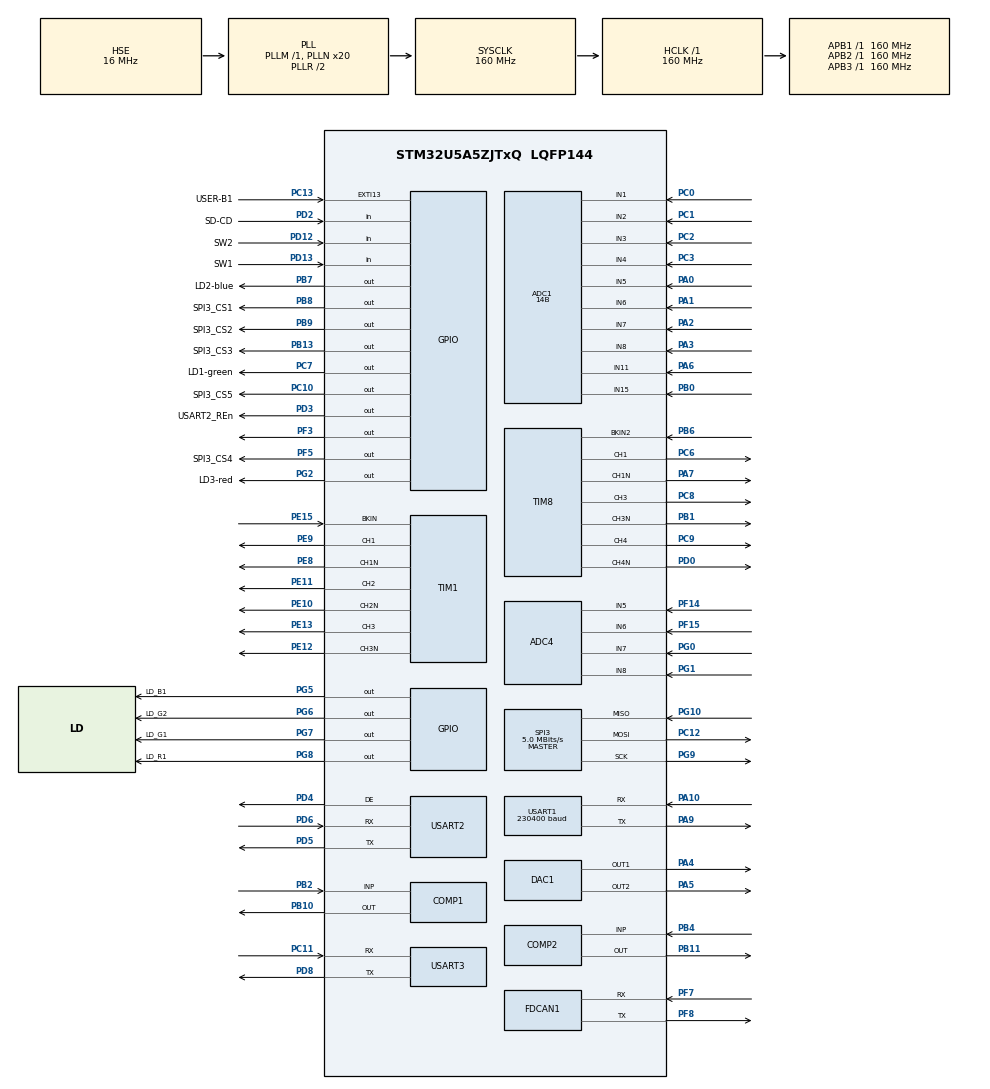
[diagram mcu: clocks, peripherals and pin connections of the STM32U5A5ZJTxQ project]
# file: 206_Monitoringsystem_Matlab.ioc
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ADC1.Channel-2\#ChannelRegularConversion=ADC_CHANNEL_1
ADC1.ClockPrescaler=ADC_CLOCK_ASYNC_DIV4
ADC1.ContinuousConvMode=DISABLE
ADC1.ConversionDataManagement=ADC_CONVERSIONDATA_DMA_CIRCULAR
ADC1.EnableInjectedConversion=DISABLE
ADC1.EnableRegularConversion=ENABLE
ADC1.ExternalTrigConv=ADC_EXTERNALTRIG_T3_TRGO
ADC1.MonitoredBy-2\#ChannelRegularConversion=__NULL
ADC1.NbrOfConversionFlag=1
ADC1.OffsetNumber-2\#ChannelRegularConversion=ADC_OFFSET_NONE
ADC1.Rank-2\#ChannelRegularConversion=1
ADC1.Resolution=ADC_RESOLUTION_14B
ADC1.SamplingTime-2\#ChannelRegularConversion=ADC_SAMPLETIME_68CYCLES
ADC1.master=1
ADC4.Channel-0\#ChannelRegularConversion=ADC_CHANNEL_5
ADC4.ClockPrescaler=ADC_CLOCK_ASYNC_DIV4
ADC4.NbrOfConversionFlag=1
ADC4.OffsetNumber-0\#ChannelRegularConversion=ADC_OFFSET_NONE
ADC4.Rank-0\#ChannelRegularConversion=1
ADC4.RankArg-0\#ChannelRegularConversion=ADC4_REGULAR_RANK_1
ADC4.SamplingTime-0\#ChannelRegularConversion=ADC4_SAMPLINGTIME_COMMON_1
ADC4.SelectedChannel=ADC_CHANNEL_5|ADC_CHANNEL_6|ADC_CHANNEL_7|ADC_CHANNEL_8
CORTEX_M33_NS.AccessPermission-Cortex_Memory_Protection_Unit_Region0_Settings=MPU_REGION_PRIV_RO
CORTEX_M33_NS.AccessPermission-Cortex_Memory_Protection_Unit_Region1_Settings=MPU_REGION_ALL_RW
CORTEX_M33_NS.AllocateAttribute0=MPU_R_ALLOCATE
CORTEX_M33_NS.Attributes0=MPU_ATTRIBUTES_NUMBER0
CORTEX_M33_NS.Attributes1=MPU_ATTRIBUTES_NUMBER1
CORTEX_M33_NS.AttributesIndex-Cortex_Memory_Protection_Unit_Region1_Settings=MPU_ATTRIBUTES_NUMBER1
CORTEX_M33_NS.BaseAddress-Cortex_Memory_Protection_Unit_Region0_Settings=0x08000000
CORTEX_M33_NS.BaseAddress-Cortex_Memory_Protection_Unit_Region1_Settings=0x20000000
CORTEX_M33_NS.Enable-Cortex_Memory_Protection_Unit_Region0_Settings=MPU_REGION_ENABLE
CORTEX_M33_NS.Enable-Cortex_Memory_Protection_Unit_Region1_Settings=MPU_REGION_ENABLE
CORTEX_M33_NS.LimitAddress-Cortex_Memory_Protection_Unit_Region0_Settings=0x083FFFFF
CORTEX_M33_NS.LimitAddress-Cortex_Memory_Protection_Unit_Region1_Settings=0x2026FFFF
CORTEX_M33_NS.MPU_Control=MPU_PRIVILEGED_DEFAULT
CORTEX_M33_NS.Memorytype0=MPU_CACHEABLE
CORTEX_M33_NS.Number-Cortex_Memory_Protection_Unit_Region0_Settings=MPU_REGION_NUMBER0
CORTEX_M33_NS.Number-Cortex_Memory_Protection_Unit_Region1_Settings=MPU_REGION_NUMBER1
CORTEX_M33_NS.userName=CORTEX_M33
DAC1.DAC_Channel-DAC_OUT1_ExtAndInt=DAC_CHANNEL_1
DAC1.DAC_Channel-DAC_OUT2_ExtAndInt=DAC_CHANNEL_2
FDCAN1.CalculateBaudRateNominal=3333333
FDCAN1.CalculateTimeBitNominal=300
FDCAN1.CalculateTimeQuantumNominal=100.0
FLASH.B1_BLOCK_active=true
FLASH.B1_endPage=255
FLASH.B2_BLOCK_active=true
FLASH.B2_Bank=FLASH_BANK_2
FLASH.B2_endPage=255
FLASH.OB_Boot_Configuration_active_NS0=true
FLASH.OB_NSBOOTADD0_Address=0x08000000
GPDMA1.CIRCULARMODE_GPDMACH15=ENABLE
GPDMA1.DESTDATAWIDTH_GPDMACH15=DMA_DEST_DATAWIDTH_HALFWORD
GPDMA1.DESTINC_GPDMACH15=DMA_DINC_INCREMENTED
GPDMA1.IPHANDLE_GPDMACH15-SIMPLEREQUEST_GPDMACH15=__NULL
GPDMA1.REQUEST_GPDMACH15=GPDMA1_REQUEST_ADC1
GPDMA1.SRCDATAWIDTH_GPDMACH15=DMA_SRC_DATAWIDTH_HALFWORD
GPDMA1.TRIGGERPOLARITY_GPDMACH15=DMA_TRIG_POLARITY_MASKED
GTZC.MPCBB1_Area_Privilege=GTZC_MPCBB_REGION_NPRIV
GTZC.MPCBB1_Area_Privilege_Choice=from full Privileged
GTZC.MPCBB1_Area_Privilege_Size=0x000C0000
GTZC.MPCBB1_PrivConfig_array=00000000\:00000000\:00000000\:00000000\:00000000\:00000000\:00000000\:00000000\:00000000\:00000000\:00000000\:00000000\:00000000\:00000000\:00000000\:00000000\:00000000\:00000000\:00000000\:00000000\:00000000\:00000000\:00000000\:00000000\:00000000\:00000000\:00000000\:00000000\:00000000\:00000000\:00000000\:00000000\:00000000\:00000000\:00000000\:00000000\:00000000\:00000000\:00000000\:00000000\:00000000\:00000000\:00000000\:00000000\:00000000\:00000000\:00000000\:00000000
GTZC.MPCBB1_SecConfig_array=00000000\:00000000\:00000000\:00000000\:00000000\:00000000\:00000000\:00000000\:00000000\:00000000\:00000000\:00000000\:00000000\:00000000\:00000000\:00000000\:00000000\:00000000\:00000000\:00000000\:00000000\:00000000\:00000000\:00000000\:00000000\:00000000\:00000000\:00000000\:00000000\:00000000\:00000000\:00000000\:00000000\:00000000\:00000000\:00000000\:00000000\:00000000\:00000000\:00000000\:00000000\:00000000\:00000000\:00000000\:00000000\:00000000\:00000000\:00000000
GTZC.MPCBB2_Area_Privilege=GTZC_MPCBB_REGION_NPRIV
GTZC.MPCBB2_Area_Privilege_Choice=from full Privileged
GTZC.MPCBB2_Area_Privilege_Size=0x00010000
GTZC.MPCBB2_PrivConfig_array=00000000\:00000000\:00000000\:00000000\:FFFFFFFF\:FFFFFFFF\:FFFFFFFF\:FFFFFFFF\:FFFFFFFF\:FFFFFFFF\:FFFFFFFF\:FFFFFFFF\:FFFFFFFF\:FFFFFFFF\:FFFFFFFF\:FFFFFFFF\:FFFFFFFF\:FFFFFFFF\:FFFFFFFF\:FFFFFFFF\:FFFFFFFF\:FFFFFFFF\:FFFFFFFF\:FFFFFFFF\:FFFFFFFF\:FFFFFFFF\:FFFFFFFF\:FFFFFFFF\:FFFFFFFF\:FFFFFFFF\:FFFFFFFF\:FFFFFFFF\:FFFFFFFF\:FFFFFFFF\:FFFFFFFF\:FFFFFFFF\:FFFFFFFF\:FFFFFFFF\:FFFFFFFF\:FFFFFFFF\:FFFFFFFF\:FFFFFFFF\:FFFFFFFF\:FFFFFFFF\:FFFFFFFF\:FFFFFFFF\:FFFFFFFF\:FFFFFFFF\:FFFFFFFF\:FFFFFFFF\:FFFFFFFF\:FFFFFFFF
GTZC.MPCBB2_SecConfig_array=00000000\:00000000\:00000000\:00000000\:00000000\:00000000\:00000000\:00000000\:00000000\:00000000\:00000000\:00000000\:00000000\:00000000\:00000000\:00000000\:00000000\:00000000\:00000000\:00000000\:00000000\:00000000\:00000000\:00000000\:00000000\:00000000\:00000000\:00000000\:00000000\:00000000\:00000000\:00000000\:00000000\:00000000\:00000000\:00000000\:00000000\:00000000\:00000000\:00000000\:00000000\:00000000\:00000000\:00000000\:00000000\:00000000\:00000000\:00000000\:00000000\:00000000\:00000000\:00000000
GTZC.MPCBB3_Area_Privilege=GTZC_MPCBB_REGION_NPRIV
GTZC.MPCBB3_Area_Privilege_Choice=from full Privileged
GTZC.MPCBB3_Area_Privilege_Size=0x000D0000
GTZC.MPCBB3_PrivConfig_array=00000000\:00000000\:00000000\:00000000\:00000000\:00000000\:00000000\:00000000\:00000000\:00000000\:00000000\:00000000\:00000000\:00000000\:00000000\:00000000\:00000000\:00000000\:00000000\:00000000\:00000000\:00000000\:00000000\:00000000\:00000000\:00000000\:00000000\:00000000\:00000000\:00000000\:00000000\:00000000\:00000000\:00000000\:00000000\:00000000\:00000000\:00000000\:00000000\:00000000\:00000000\:00000000\:00000000\:00000000\:00000000\:00000000\:00000000\:00000000\:00000000\:00000000\:00000000\:00000000
GTZC.MPCBB3_SecConfig_array=00000000\:00000000\:00000000\:00000000\:00000000\:00000000\:00000000\:00000000\:00000000\:00000000\:00000000\:00000000\:00000000\:00000000\:00000000\:00000000\:00000000\:00000000\:00000000\:00000000\:00000000\:00000000\:00000000\:00000000\:00000000\:00000000\:00000000\:00000000\:00000000\:00000000\:00000000\:00000000\:00000000\:00000000\:00000000\:00000000\:00000000\:00000000\:00000000\:00000000\:00000000\:00000000\:00000000\:00000000\:00000000\:00000000\:00000000\:00000000\:00000000\:00000000\:00000000\:00000000
GTZC.MPCBB4_PrivConfig_array=00000000
GTZC.MPCBB4_SecConfig_array=00000000
GTZC.MPCBB5_Area_Privilege=GTZC_MPCBB_REGION_NPRIV
GTZC.MPCBB5_Area_Privilege_Choice=from full Privileged
GTZC.MPCBB5_Area_Privilege_Size=0x000D0000
GTZC.MPCBB5_PrivConfig_array=00000000\:00000000\:00000000\:00000000\:00000000\:00000000\:00000000\:00000000\:00000000\:00000000\:00000000\:00000000\:00000000\:00000000\:00000000\:00000000\:00000000\:00000000\:00000000\:00000000\:00000000\:00000000\:00000000\:00000000\:00000000\:00000000\:00000000\:00000000\:00000000\:00000000\:00000000\:00000000\:00000000\:00000000\:00000000\:00000000\:00000000\:00000000\:00000000\:00000000\:00000000\:00000000\:00000000\:00000000\:00000000\:00000000\:00000000\:00000000\:00000000\:00000000\:00000000\:00000000
GTZC.MPCBB5_SecConfig_array=00000000\:00000000\:00000000\:00000000\:00000000\:00000000\:00000000\:00000000\:00000000\:00000000\:00000000\:00000000\:00000000\:00000000\:00000000\:00000000\:00000000\:00000000\:00000000\:00000000\:00000000\:00000000\:00000000\:00000000\:00000000\:00000000\:00000000\:00000000\:00000000\:00000000\:00000000\:00000000\:00000000\:00000000\:00000000\:00000000\:00000000\:00000000\:00000000\:00000000\:00000000\:00000000\:00000000\:00000000\:00000000\:00000000\:00000000\:00000000\:00000000\:00000000\:00000000\:00000000
Mcu.Family=STM32U5
Mcu.Name=STM32U5A5ZJTxQ
Mcu.Package=LQFP144
NVIC.ADC1_2_IRQn=true\:0\:0\:false\:false\:true\:true\:true\:true
NVIC.EXTI13_IRQn=true\:2\:0\:true\:false\:true\:true\:true\:true
NVIC.GPDMA1_Channel15_IRQn=true\:0\:0\:false\:false\:true\:false\:true\:true
NVIC.PriorityGroup=NVIC_PRIORITYGROUP_4
NVIC.TIM3_IRQn=true\:1\:0\:true\:false\:true\:true\:true\:true
PA0.Mode=IN5-Single-Ended
PA0.Signal=ADC1_IN5
PA1.Mode=IN6-Single-Ended
PA1.Signal=ADC1_IN6
PA10.Mode=Asynchronous
PA10.Signal=USART1_RX
PA13\ (JTMS/SWDIO).Mode=Trace_Asynchronous_SW
PA13\ (JTMS/SWDIO).Signal=DEBUG_JTMS-SWDIO
PA14\ (JTCK/SWCLK).Mode=Trace_Asynchronous_SW
PA14\ (JTCK/SWCLK).Signal=DEBUG_JTCK-SWCLK
PA2.Mode=IN7-Single-Ended
PA2.Signal=ADC1_IN7
PA3.Mode=IN8-Single-Ended
PA3.Signal=ADC1_IN8
PA4.Signal=COMP_DAC11_group
PA5.Signal=COMP_DAC12_group
PA6.Mode=IN11-Single-Ended
PA6.Signal=ADC1_IN11
PA7.Mode=PWM Generation1 CH1 CH1N
PA7.Signal=TIM8_CH1N
PA9.Mode=Asynchronous
PA9.Signal=USART1_TX
PB0.Mode=IN15-Single-Ended
PB0.Signal=ADC1_IN15
PB1.Mode=PWM Generation3 CH3 CH3N
PB1.Signal=TIM8_CH3N
PB10.Mode=ExternalOutput
PB10.Signal=COMP1_OUT
PB11.Mode=ExternalOutput
PB11.Signal=COMP2_OUT
PB13.GPIO_Label=SPI3_CS3
PB13.Signal=GPIO_Output
PB2.Mode=INP
PB2.Signal=COMP1_INP
PB3\ (JTDO/TRACESWO).Mode=Trace_Asynchronous_SW
PB3\ (JTDO/TRACESWO).Signal=DEBUG_JTDO-SWO
PB4\ (NJTRST).Mode=INP
PB4\ (NJTRST).Signal=COMP2_INP
PB6.Mode=Activate-Break-Input-2
PB6.Signal=TIM8_BKIN2
PB7.GPIO_Label=LD2-blue
PB7.Signal=GPIO_Output
PB8.GPIO_Label=SPI3_CS1
PB8.PinState=GPIO_PIN_SET
PB8.Signal=GPIO_Output
PB9.GPIO_Label=SPI3_CS2
PB9.Signal=GPIO_Output
PC0.Mode=IN1-Single-Ended
PC0.Signal=ADC1_IN1
PC1.Mode=IN2-Single-Ended
PC1.Signal=ADC1_IN2
PC10.GPIO_Label=SPI3_CS5
PC10.Signal=GPIO_Output
PC11.Mode=Asynchronous
PC11.Signal=USART3_RX
PC12.Mode=Full_Duplex_Master
PC12.Signal=SPI3_MOSI
PC13.GPIO_Label=USER-B1
PC13.GPIO_PuPd=GPIO_NOPULL
PC13.Signal=GPXTI13
PC14-OSC32_IN\ (PC14).Mode=LSE-External-Oscillator
PC14-OSC32_IN\ (PC14).Signal=RCC_OSC32_IN
PC15-OSC32_OUT\ (PC15).Mode=LSE-External-Oscillator
PC15-OSC32_OUT\ (PC15).Signal=RCC_OSC32_OUT
PC2.Mode=IN3-Single-Ended
PC2.Signal=ADC1_IN3
PC3.Mode=IN4-Single-Ended
PC3.Signal=ADC1_IN4
PC6.Signal=S_TIM8_CH1
PC7.GPIO_Label=LD1-green
PC7.Signal=GPIO_Output
PC8.Signal=S_TIM8_CH3
PC9.Signal=S_TIM8_CH4
PD0.Mode=PWM Generation4 CH4 CH4N
PD0.Signal=TIM8_CH4N
PD12.GPIO_Label=SW2
PD12.Signal=GPIO_Input
PD13.GPIO_Label=SW1
PD13.Signal=GPIO_Input
PD2.GPIO_Label=SD-CD
PD2.Signal=GPIO_Input
PD3.GPIO_Label=USART2_REn
PD3.Signal=GPIO_Output
PD4.Mode=Hardware Flow Control (RS485)
PD4.Signal=USART2_DE
PD5.Mode=Asynchronous
PD5.Signal=USART2_TX
PD6.Mode=Asynchronous
PD6.Signal=USART2_RX
PD8.Mode=Asynchronous
PD8.Signal=USART3_TX
PE10.Mode=PWM Generation2 CH2 CH2N
PE10.Signal=TIM1_CH2N
PE11.Signal=S_TIM1_CH2
PE12.Mode=PWM Generation3 CH3 CH3N
PE12.Signal=TIM1_CH3N
PE13.Signal=S_TIM1_CH3
PE15.Mode=Activate-Break-Input
PE15.Signal=TIM1_BKIN
PE8.Mode=PWM Generation1 CH1 CH1N
PE8.Signal=TIM1_CH1N
PE9.Signal=S_TIM1_CH1
PF14.Mode=IN5
PF14.Signal=ADC4_IN5
PF15.Mode=IN6
PF15.Signal=ADC4_IN6
PF3.Signal=GPIO_Output
PF5.GPIO_Label=SPI3_CS4
PF5.Signal=GPIO_Output
PF7.Mode=FDCAN_Activate
PF7.Signal=FDCAN1_RX
PF8.Mode=FDCAN_Activate
PF8.Signal=FDCAN1_TX
PG0.Mode=IN7
PG0.Signal=ADC4_IN7
PG1.Mode=IN8
PG1.Signal=ADC4_IN8
PG10.Mode=Full_Duplex_Master
PG10.Signal=SPI3_MISO
PG2.GPIO_Label=LD3-red
PG2.Signal=GPIO_Output
PG5.GPIO_Label=LD_B1
PG5.Signal=GPIO_Output
PG6.GPIO_Label=LD_G2
PG6.Signal=GPIO_Output
PG7.GPIO_Label=LD_G1
PG7.Signal=GPIO_Output
PG8.GPIO_Label=LD_R1
PG8.Signal=GPIO_Output
PG9.Mode=Full_Duplex_Master
PG9.Signal=SPI3_SCK
PH0-OSC_IN\ (PH0).Mode=HSE-External-Oscillator
PH0-OSC_IN\ (PH0).Signal=RCC_OSC_IN
PH1-OSC_OUT\ (PH1).Mode=HSE-External-Oscillator
PH1-OSC_OUT\ (PH1).Signal=RCC_OSC_OUT
PWR.PowerMode=PWR_SMPS_SUPPLY
ProjectManager.HeapSize=0x2000
ProjectManager.StackSize=0x2000
ProjectManager.TargetToolchain=STM32CubeIDE
RCC.ADCCLockSelection=RCC_ADCDACCLKSOURCE_SYSCLK
RCC.ADCFreq_Value=160000000
RCC.AHBFreq_Value=160000000
RCC.APB1Freq_Value=160000000
RCC.APB1TimFreq_Value=160000000
RCC.APB2Freq_Value=160000000
RCC.APB2TimFreq_Value=160000000
RCC.APB3Freq_Value=160000000
RCC.CortexFreq_Value=160000000
RCC.DACCLockSelectionVirtual=RCC_DAC1CLKSOURCE_LSI
RCC.EPOD_VALUE=16000000
RCC.HCLKFreq_Value=160000000
RCC.HSE_VALUE=16000000
RCC.HSI48_VALUE=48000000
RCC.HSI_VALUE=16000000
RCC.LSIDIV_VALUE=32000
RCC.MSIClockRange=RCC_MSIRANGE_0
RCC.MSI_VALUE=48000000
RCC.PLLFRACN=0
RCC.PLLN=20
RCC.PLLSourceVirtual=RCC_PLLSOURCE_HSE
RCC.SYSCLKFreq_VALUE=160000000
RCC.SYSCLKSource=RCC_SYSCLKSOURCE_PLLCLK
RCC.USBPHYCLockSelection=RCC_USBPHYCLKSOURCE_HSE
RCC.VCOOutputFreq_Value=320000000
SH.COMP_DAC11_group.0=DAC1_OUT1,DAC_OUT1_ExtAndInt
SH.COMP_DAC12_group.0=DAC1_OUT2,DAC_OUT2_ExtAndInt
SH.S_TIM1_CH1.0=TIM1_CH1,PWM Generation1 CH1 CH1N
SH.S_TIM1_CH2.0=TIM1_CH2,PWM Generation2 CH2 CH2N
SH.S_TIM1_CH3.0=TIM1_CH3,PWM Generation3 CH3 CH3N
SH.S_TIM8_CH1.0=TIM8_CH1,PWM Generation1 CH1 CH1N
SH.S_TIM8_CH3.0=TIM8_CH3,PWM Generation3 CH3 CH3N
SH.S_TIM8_CH4.0=TIM8_CH4,PWM Generation4 CH4 CH4N
SPI3.BaudRatePrescaler=SPI_BAUDRATEPRESCALER_32
SPI3.CLKPhase=SPI_PHASE_2EDGE
SPI3.CLKPolarity=SPI_POLARITY_LOW
SPI3.CalculateBaudRate=5.0 MBits/s
SPI3.DataSize=SPI_DATASIZE_8BIT
SPI3.Direction=SPI_DIRECTION_2LINES
SPI3.Mode=SPI_MODE_MASTER
SPI3.VirtualType=VM_MASTER
STMicroelectronics.X-CUBE-ALGOBUILD.1.4.0.LibraryCcDSPOoLibraryJjDSPOoLibrary=true
TIM1.Channel-PWM\ Generation1\ CH1\ CH1N=TIM_CHANNEL_1
TIM1.Channel-PWM\ Generation2\ CH2\ CH2N=TIM_CHANNEL_2
TIM1.Channel-PWM\ Generation3\ CH3\ CH3N=TIM_CHANNEL_3
TIM1.SourceBRK2COMP1=TIM_BREAKINPUTSOURCE_DISABLE
TIM1.SourceBRKCOMP1=TIM_BREAKINPUTSOURCE_ENABLE
TIM3.PeriodNoDither=160 - 1
TIM3.Prescaler=10 - 1
TIM3.TIM_MasterOutputTrigger=TIM_TRGO_UPDATE
TIM8.AutomaticOutput=TIM_AUTOMATICOUTPUT_DISABLE
TIM8.Channel-PWM\ Generation1\ CH1\ CH1N=TIM_CHANNEL_1
TIM8.Channel-PWM\ Generation3\ CH3\ CH3N=TIM_CHANNEL_3
TIM8.Channel-PWM\ Generation4\ CH4\ CH4N=TIM_CHANNEL_4
TIM8.SourceBRK2COMP2=TIM_BREAKINPUTSOURCE_ENABLE
TIM8.SourceBRKCOMP2=TIM_BREAKINPUTSOURCE_ENABLE
USART1.BaudRate=230400
USART1.OverSampling=UART_OVERSAMPLING_16
USART1.VirtualMode-Asynchronous=VM_ASYNC
USART2.VirtualMode-Asynchronous=VM_ASYNC
USART2.VirtualMode-Hardware\ Flow\ Control\ (RS485)=VM_ASYNC
USART3.VirtualMode-Asynchronous=VM_ASYNC
VP_COMP1_VS_DACOUT1.Mode=INM_DACOUT1
VP_COMP2_VS_DACOUT2.Mode=INM_DACOUT2
VP_FLASH_SIG_Activate_FlashIP.Mode=Activate_FlashIP
VP_GPDMA1_VS_GPDMACH15.Mode=SIMPLEREQUEST_GPDMACH15
VP_GTZC_VS_GTZC_Enable.Mode=GTZC_Enable
VP_ICACHE_VS_ICACHE.Mode=DirectMappedCache
VP_LPBAMQUEUE_VS_QUEUE.Mode=QUEUEMODE
VP_MEMORYMAP_VS_MEMORYMAP.Mode=CurAppReg
VP_PWR_VS_DBSignals.Mode=DisableDeadBatterySignals
VP_PWR_VS_LPOM.Mode=PowerOptimisation
VP_PWR_VS_SECSignals.Mode=Security/Privilege
VP_PWR_Vdda.Mode=isolationVdda
VP_STMicroelectronics.X-CUBE-ALGOBUILD_VS_DSPOoLibraryJjLibrary_1.4.0_1.4.0.Mode=DSPOoLibraryJjLibrary
VP_TIM1_VS_ClockSourceINT.Mode=Internal
VP_TIM3_VS_ClockSourceINT.Mode=Internal
board=NUCLEO-U5A5ZJ-Q

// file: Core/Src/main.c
/* USER CODE BEGIN Header */
/**
 * @file main.c
 * @brief <b>Monitoringsystem für Medicoat</b>
 * @author Raphael Baumeler
 * @date 09.04.2026
 *
 * In diesem Skript kann die FFT mit dem NUCLEO Board berechnet werden und mit den
 * Oszilloskop Werten verglichen werden.
 *
 * Beschreibung Monitoringsystem
 * - Das Monitoringsystem wird über den blauen Button gestartet (SWV Output beachten)
 * - Das ADC Sampling erfolgt mit 100 kHz am PC0 bzw. J1 auf dem PCB
 * - Die Samplingfrequenz kann am PF3 gemessen werden
 * - Nach dem Sampling wird die FFT berechnet
 * - Anschliessend erfolgt die Datenübertragung via VCP (PA9 und PA10)
 *
 * Vergleich FFT Oszilloskop mit FFT STM32
 * - Spannungssignal am Anschluss J1 (0...2V) anschliessen und parallel mit Oszilloskop messen.
 * - ADC-Trigger am PF3 mit Oszilloskop messen.
 * - Trigger auf ADC-Trigger Signal setzen und Single Shot auswählen.
 * - Oszilloskop via Ethernet und uC via USB mit Laptop verbinden (IP-Konfiguration beachten).
 * - Matlab main.m aus dem Projektverzeichnis starten.
 * - Blauer Button am NUCLEO Board betätigen.
 * - FFT wird berechnet und das Zeitsignal wie die Amplitudenwerte der berechneten FFT werden zu
 *   Matlab übertragen und in einem Plot Fenster dargestellt.
 * - Nachdem main.m durchgelaufen ist das zweite Skript readwaveform_teledyne.m starten für
 *   den direkten Vergleich zwischen Teledyne und STM32 FFT
 *
 * @note Aufgrund der hohen Abtastfrequenz muss vor PC0 ein Buffer geschaltet werden, welcher den ADC Pin treibt!
 */
/* USER CODE END Header */
#include "main.h"
#include "adc.h"
#include "comp.h"
#include "dac.h"
#include "fdcan.h"
#include "flash.h"
#include "gpdma.h"
#include "gtzc.h"
#include "icache.h"
#include "spi.h"
#include "tim.h"
#include "usart.h"
#include "gpio.h"

/* USER CODE BEGIN Includes */
#include "statemachine.h"
/* USER CODE END Includes */

/* USER CODE BEGIN PV */
/**
 * @brief Quadrant Nummer DMA Übertragung
 */
int qNr = 1;
/**
 * @brief Anfangs State
 */
State_t curr_state = IDLE;
/**
 * @brief Anfangs Event
 */
Event_t curr_event = EVENT_NONE;
/* USER CODE END PV */

void SystemClock_Config(void);
static void SystemPower_Config(void);
static void MPU_Config(void);
/* USER CODE BEGIN PFP */
/**
 * @brief ADC Callback. Wenn der DMA die Daten übertragen hat wird diese Funktion aufgerufen.
 *
 * @param hadc Zeiger auf ADC Handle
 * @note Pro DMA Übertragung können maximal 2^14 = 16384 Werte übertragen werden. Wenn DMA gestartet
 * wird z.B. via HAL_ADC_Start_DMA(&hadc1, (uint32_t*) adc_val, N); muss beachtet werden, dass N <= 16384!
 * Wenn dem nicht so ist, müssen die DMA übertragungen auf mehrere Übertragungen aufgeteilt werden!
 * Beispiel:
 *	1. HAL_ADC_Start_DMA(&hadc1, (uint32_t*) &adc_val[0], (N/2));<br>
 *	Sobald 1. Übertragung abgeschlossen ist 2. Übertragung starten.<br>
 *	2. HAL_ADC_Start_DMA(&hadc1, (uint32_t*) &adc_val[N/2], (N/2));
 */
void HAL_ADC_ConvCpltCallback(ADC_HandleTypeDef *hadc);

/**
 * @brief Timer Callback. Der Timer 3 triggert den ADC und toggelt PF3.
 *
 * @param htim Zeiger auf Timer Handle
 * @note Dieser Callback Triggert den ADC für eine konstante Abtastfrequenz. Diese Frequenz kann über die PSC und ARR
 * Werte verändert werden. Er soll nur verwendet werden, wenn die Abtastfrequenz am Oszilloskop
 * überprüft werden soll, da damit die CPU bei hoher Triggerfrequenz stark ausgelastet wird.
 */
void HAL_TIM_PeriodElapsedCallback(TIM_HandleTypeDef *htim);

/**
 * @brief GPIO Callback. Wenn der User B1 (blau) auf dem NUCLEO Board gedrückt wird, wird dieser Callback
 * aufgerufen.
 *
 * @param GPIO_Pin
 * @note In diesem Callback wird nacheinander das ADC Sampling gestartet und die FFT ausgeführt. Was genau passiert
 * kann mit der SWV Konsole überprüft werden.
 */
void HAL_GPIO_EXTI_Rising_Callback(uint16_t GPIO_Pin);
/* USER CODE END PFP */

int main(void)
{

  /* MCU Configuration--------------------------------------------------------*/

  /* MPU Configuration--------------------------------------------------------*/  MPU_Config();

  /* Reset of all peripherals, Initializes the Flash interface and the Systick. */
  HAL_Init();

  /* Configure the System Power */
  SystemPower_Config();

  /* Configure the system clock */
  SystemClock_Config();
  /* GTZC initialisation */
  MX_GTZC_Init();

  /* Initialize all configured peripherals */
  MX_GPIO_Init();
  MX_GPDMA1_Init();
  MX_ICACHE_Init();
  MX_FLASH_Init();
  MX_ADC1_Init();
  MX_ADC4_Init();
  MX_COMP1_Init();
  MX_COMP2_Init();
  MX_DAC1_Init();
  MX_FDCAN1_Init();
  MX_TIM1_Init();
  MX_TIM8_Init();
  MX_USART3_UART_Init();
  MX_USART1_UART_Init();
  MX_TIM3_Init();
  MX_SPI3_Init();
  MX_USART2_UART_Init();
  /* USER CODE BEGIN 2 */

  // Monitoringsystem bereit zum ausführen
  // StateMachine(&curr_state, &curr_event);

  // SPI3 Datenübertragung
  HAL_StatusTypeDef status;

  uint8_t txData[3];
  txData[0] = 0x00;	// PD1, PD0 = 0 -> Normal Mode
  txData[1] = 0xFF;	// First Data Byte
  txData[2] = 0xFF;	// Second Data Byte

  HAL_GPIO_WritePin(SPI3_CS1_GPIO_Port, SPI3_CS1_Pin, GPIO_PIN_RESET);
  status = HAL_SPI_Transmit(&hspi3, txData, sizeof(txData), HAL_MAX_DELAY); // Drittes Argument bedeutet Anzahl Datenframes!
  HAL_GPIO_WritePin(SPI3_CS1_GPIO_Port, SPI3_CS1_Pin, GPIO_PIN_SET);

  /*if(status != HAL_OK)
  {
      Error_Handler();
  }*/

  /* USER CODE END 2 */

  /* Infinite loop */
	while (1) {

    /* USER CODE BEGIN 3 */
		// StateMachine(&curr_state, &curr_event);
	}
  /* USER CODE END 3 */
}

void SystemClock_Config(void)
{
  RCC_OscInitTypeDef RCC_OscInitStruct = {0};
  RCC_ClkInitTypeDef RCC_ClkInitStruct = {0};

  /** Configure the main internal regulator output voltage
  */
  if (HAL_PWREx_ControlVoltageScaling(PWR_REGULATOR_VOLTAGE_SCALE1) != HAL_OK)
  {
    Error_Handler();
  }

  /** Initializes the CPU, AHB and APB buses clocks
  */
  RCC_OscInitStruct.OscillatorType = RCC_OSCILLATORTYPE_LSI|RCC_OSCILLATORTYPE_HSE;
  RCC_OscInitStruct.HSEState = RCC_HSE_ON;
  RCC_OscInitStruct.LSIState = RCC_LSI_ON;
  RCC_OscInitStruct.LSIDiv = RCC_LSI_DIV1;
  RCC_OscInitStruct.PLL.PLLState = RCC_PLL_ON;
  RCC_OscInitStruct.PLL.PLLSource = RCC_PLLSOURCE_HSE;
  RCC_OscInitStruct.PLL.PLLMBOOST = RCC_PLLMBOOST_DIV1;
  RCC_OscInitStruct.PLL.PLLM = 1;
  RCC_OscInitStruct.PLL.PLLN = 20;
  RCC_OscInitStruct.PLL.PLLP = 2;
  RCC_OscInitStruct.PLL.PLLQ = 2;
  RCC_OscInitStruct.PLL.PLLR = 2;
  RCC_OscInitStruct.PLL.PLLRGE = RCC_PLLVCIRANGE_1;
  RCC_OscInitStruct.PLL.PLLFRACN = 0;
  if (HAL_RCC_OscConfig(&RCC_OscInitStruct) != HAL_OK)
  {
    Error_Handler();
  }

  /** Initializes the CPU, AHB and APB buses clocks
  */
  RCC_ClkInitStruct.ClockType = RCC_CLOCKTYPE_HCLK|RCC_CLOCKTYPE_SYSCLK
                              |RCC_CLOCKTYPE_PCLK1|RCC_CLOCKTYPE_PCLK2
                              |RCC_CLOCKTYPE_PCLK3;
  RCC_ClkInitStruct.SYSCLKSource = RCC_SYSCLKSOURCE_PLLCLK;
  RCC_ClkInitStruct.AHBCLKDivider = RCC_SYSCLK_DIV1;
  RCC_ClkInitStruct.APB1CLKDivider = RCC_HCLK_DIV1;
  RCC_ClkInitStruct.APB2CLKDivider = RCC_HCLK_DIV1;
  RCC_ClkInitStruct.APB3CLKDivider = RCC_HCLK_DIV1;

  if (HAL_RCC_ClockConfig(&RCC_ClkInitStruct, FLASH_LATENCY_4) != HAL_OK)
  {
    Error_Handler();
  }
}

/**
  * @brief Power Configuration
  * @retval None
  */
static void SystemPower_Config(void)
{
  HAL_PWREx_EnableVddIO2();

  /*
   * Disable the internal Pull-Up in Dead Battery pins of UCPD peripheral
   */
  HAL_PWREx_DisableUCPDDeadBattery();

  /*
   * Switch to SMPS regulator instead of LDO
   */
  if (HAL_PWREx_ConfigSupply(PWR_SMPS_SUPPLY) != HAL_OK)
  {
    Error_Handler();
  }
}

/* USER CODE BEGIN 4 */

void HAL_ADC_ConvCpltCallback(ADC_HandleTypeDef *hadc) {
	switch (qNr) {
	case 1:
		// Erster Viertel übertragen -> zweiter Viertel starten
		HAL_ADC_Stop_DMA(&hadc1);
		HAL_ADC_Start_DMA(&hadc1, (uint32_t*) &adc_val[(1 * N) / 4],
				(int) (N / 4));
		qNr = 2;
		break;
	case 2:
		// Zweiter Viertel übertragen -> dritter Viertel starten
		HAL_ADC_Stop_DMA(&hadc1);
		HAL_ADC_Start_DMA(&hadc1, (uint32_t*) &adc_val[(2 * N) / 4],
				(int) (N / 4));
		qNr = 3;
		break;
	case 3:
		// Dritter Viertel übertragen -> Letzer Viertel starten
		HAL_ADC_Stop_DMA(&hadc1);
		HAL_ADC_Start_DMA(&hadc1, (uint32_t*) &adc_val[(3 * N) / 4],
				(int) (N / 4));
		qNr = 4;
		break;
	case 4:
		// Buffer komplett gefüllt
		HAL_ADC_Stop_DMA(&hadc1);
		HAL_TIM_Base_Stop_IT(&htim3);
		// Set Pin Low
		// HAL_GPIO_WritePin(GPIOF, GPIO_PIN_3, 0);
		// Reset
		qNr = 1;
		// State Machine
		curr_event = EVENT_SAMPLING_DONE;
		break;
	}
}

void HAL_TIM_PeriodElapsedCallback(TIM_HandleTypeDef *htim) {
	// PF3 Toggeln
	HAL_GPIO_TogglePin(GPIOF, GPIO_PIN_3);
}

void HAL_GPIO_EXTI_Rising_Callback(uint16_t GPIO_Pin) {
	// Button Interrupt deaktivieren
	HAL_NVIC_DisableIRQ(EXTI13_IRQn);

	// ADC Trigger und DMA starten
	__HAL_TIM_SET_COUNTER(&htim3,0);
	HAL_TIM_Base_Start_IT(&htim3);
	HAL_ADC_Start_DMA(&hadc1, (uint32_t*) &adc_val[0], (int) (N / 4));

	// Set Pin High
	// HAL_GPIO_WritePin(GPIOF, GPIO_PIN_3, 1);
	HAL_GPIO_WritePin(LD1_green_GPIO_Port, LD1_green_Pin, 1);

	// State Machine
	curr_event = EVENT_BLUE_BUTTON;
}

/* USER CODE END 4 */

 /* MPU Configuration */

void MPU_Config(void)
{
  MPU_Region_InitTypeDef MPU_InitStruct = {0};
  MPU_Attributes_InitTypeDef MPU_AttributesInit = {0};

  /* Disables the MPU */
  HAL_MPU_Disable();

  /** Initializes and configures the Region 0 and the memory to be protected
  */
  MPU_InitStruct.Enable = MPU_REGION_ENABLE;
  MPU_InitStruct.Number = MPU_REGION_NUMBER0;
  MPU_InitStruct.BaseAddress = 0x08000000;
  MPU_InitStruct.LimitAddress = 0x083FFFFF;
  MPU_InitStruct.AttributesIndex = MPU_ATTRIBUTES_NUMBER0;
  MPU_InitStruct.AccessPermission = MPU_REGION_PRIV_RO;
  MPU_InitStruct.DisableExec = MPU_INSTRUCTION_ACCESS_ENABLE;
  MPU_InitStruct.IsShareable = MPU_ACCESS_NOT_SHAREABLE;

  HAL_MPU_ConfigRegion(&MPU_InitStruct);

  /** Initializes and configures the Region 1 and the memory to be protected
  */
  MPU_InitStruct.Number = MPU_REGION_NUMBER1;
  MPU_InitStruct.BaseAddress = 0x20000000;
  MPU_InitStruct.LimitAddress = 0x2026FFFF;
  MPU_InitStruct.AttributesIndex = MPU_ATTRIBUTES_NUMBER1;
  MPU_InitStruct.AccessPermission = MPU_REGION_ALL_RW;

  HAL_MPU_ConfigRegion(&MPU_InitStruct);

  /** Initializes and configures the Attribute 0 and the memory to be protected
  */
  MPU_AttributesInit.Number = MPU_ATTRIBUTES_NUMBER0;
  MPU_AttributesInit.Attributes = INNER_OUTER(MPU_WRITE_THROUGH|MPU_TRANSIENT
                              |MPU_R_ALLOCATE);

  HAL_MPU_ConfigMemoryAttributes(&MPU_AttributesInit);

  /** Initializes and configures the Attribute 1 and the memory to be protected
  */
  MPU_AttributesInit.Number = MPU_ATTRIBUTES_NUMBER1;
  MPU_AttributesInit.Attributes = INNER_OUTER(MPU_NOT_CACHEABLE);

  HAL_MPU_ConfigMemoryAttributes(&MPU_AttributesInit);
  /* Enables the MPU */
  HAL_MPU_Enable(MPU_PRIVILEGED_DEFAULT);

}

void Error_Handler(void)
{
	__disable_irq();
	while (1) {
	}
}
